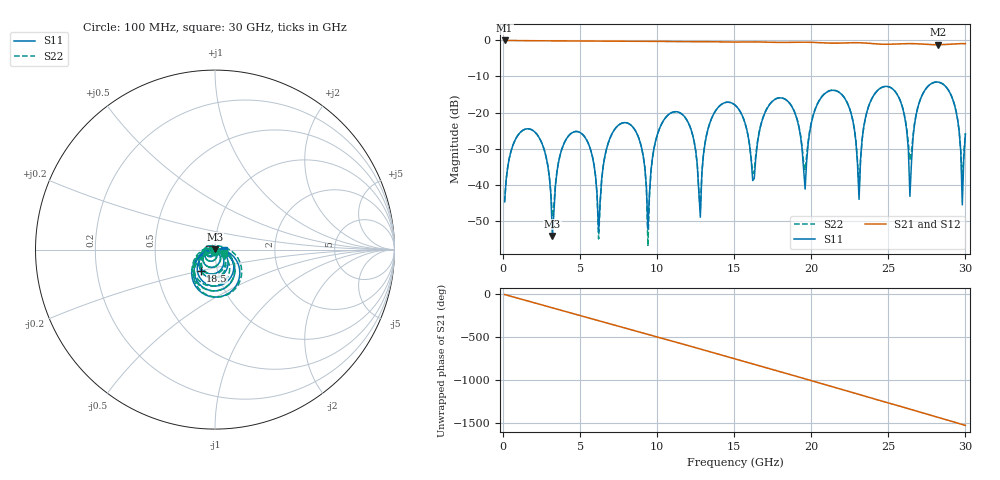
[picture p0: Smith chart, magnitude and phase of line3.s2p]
! Created Sat Feb 15 11:44:36 2025
! List of port names and net name(s): example Port n = <port_name> <net_name1> <net_name2> ...
! Port 1 = P1 P1
! Port 2 = P2 P1
# hz S ma R 50
! 2 Port Network Data from data block
! freq  magS11  angS11  magS21  angS21  magS12  angS12  magS22  angS22
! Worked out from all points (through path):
!   300 points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, 100 MHz to 30 GHz, reference 50 ohm
!   highest |S21| = -0.01 dB at 100 MHz (marker M1); lowest = -1.2 dB at 28.2 GHz (marker M2)
!   group delay of S21, straight-line fit = 142 ps
!   lowest |S11| = -54.3 dB at 3.2 GHz (marker M3), VSWR 1.00, Z = 49.8 + j0.116 ohm
!   |S11| at or under -10 dB: start of sweep to end of sweep
!   |S22| runs from -57.1 to -11.5 dB; largest |S21 - S12| = 0
!   S11 on the Smith chart (normalised r, x): 100 MHz: 1.00, -0.01; 18.5 GHz: 0.83, -0.20; 30 GHz: 1.11, -0.00
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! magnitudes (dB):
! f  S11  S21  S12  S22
! 100 MHz  -44.8  0.0  0.0  -44.8
! 2 GHz  -25.2  -0.1  -0.1  -25.2
! 3.2 GHz  -54.3  -0.1  -0.1  -49.0
! 5.1 GHz  -25.9  -0.2  -0.2  -25.8
! 6.2 GHz  -53.2  -0.2  -0.2  -55.1
! 8.6 GHz  -25.1  -0.2  -0.2  -25.1
! 9.4 GHz  -52.4  -0.2  -0.2  -57.1
! 10.1 GHz  -25.0  -0.3  -0.3  -25.1
! 12 GHz  -22.7  -0.3  -0.3  -22.7
! 12.8 GHz  -49.0  -0.3  -0.3  -47.2
! 15.1 GHz  -18.1  -0.4  -0.4  -18.1
! 16.2 GHz  -38.9  -0.4  -0.4  -37.0
! 18.5 GHz  -17.0  -0.5  -0.5  -17.0
! 19.6 GHz  -41.2  -0.5  -0.5  -36.0
! 20.1 GHz  -21.2  -0.5  -0.5  -21.0
! 22.2 GHz  -16.3  -0.7  -0.7  -16.2
! 23.1 GHz  -44.1  -0.6  -0.6  -41.2
! 25.1 GHz  -13.0  -1.1  -1.1  -13.0
! 26.4 GHz  -43.3  -0.9  -0.9  -33.2
! 28.2 GHz  -11.5  -1.2  -1.2  -11.5
! 29.8 GHz  -45.6  -0.9  -0.9  -39.4
! 30 GHz  -26.0  -0.9  -0.9  -25.8
